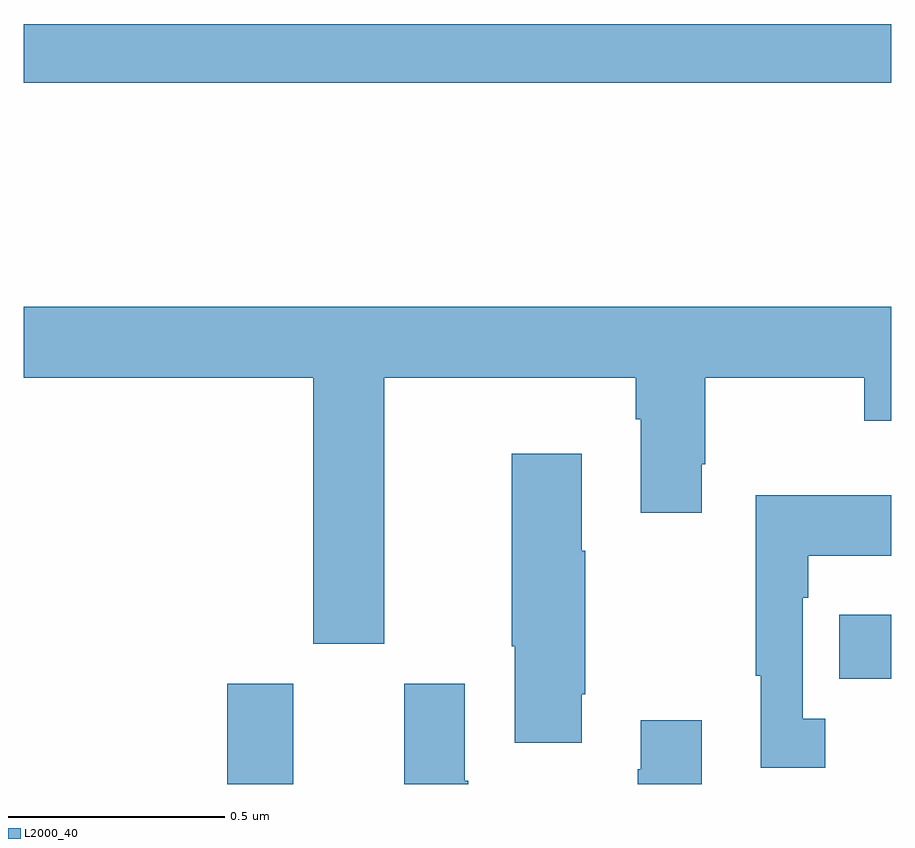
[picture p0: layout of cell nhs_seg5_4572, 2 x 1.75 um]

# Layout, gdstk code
import gdstk
lib = gdstk.Library(unit=1e-6, precision=1e-09)
def R(c, l, rs):  # rectangles x0, y0, x1, y1
    for r in rs: c.add(gdstk.rectangle(r[:2], r[2:], *l))
def P(c, l, *ps):  # polygons
    for p in ps: c.add(gdstk.Polygon(p, *l))
L2000_40 = (2000, 40)

nhs_seg5_4572 = lib.new_cell('nhs_seg5_4572')
R(nhs_seg5_4572, L2000_40, [(172.469,879.799,172.621,880.03), (173.881,880.042,174,880.189), (172,881.416,174,881.552)])
P(nhs_seg5_4572, L2000_40, [(172.831,880.736),(173.411,880.736),(173.411,880.64),(173.423,880.64),(173.423,880.425),(173.563,880.425),(173.563,880.537),(173.571,880.537),(173.571,880.736),(173.938,880.736),(173.938,880.637),(174,880.637),(174,880.9),(172,880.9),(172,880.736),(172.667,880.736),(172.667,880.122),(172.831,880.122)],
  [(173.287,880.006),(173.295,880.006),(173.295,880.337),(173.287,880.337),(173.287,880.561),(173.125,880.561),(173.125,880.117),(173.132,880.117),(173.132,879.894),(173.287,879.894)],
  [(173.848,879.95),(173.796,879.95),(173.796,880.229),(173.809,880.229),(173.809,880.325),(174,880.325),(174,880.465),(173.688,880.465),(173.688,880.049),(173.699,880.049),(173.699,879.837),(173.848,879.837)],
  [(173.025,879.806),(173.017,879.806),(173.017,880.03),(172.877,880.03),(172.877,879.799),(173.025,879.799)],
  [(173.563,879.946),(173.423,879.946),(173.423,879.833),(173.416,879.833),(173.416,879.799),(173.563,879.799)])

lib.write_gds('nhs_seg5_4572.gds')
